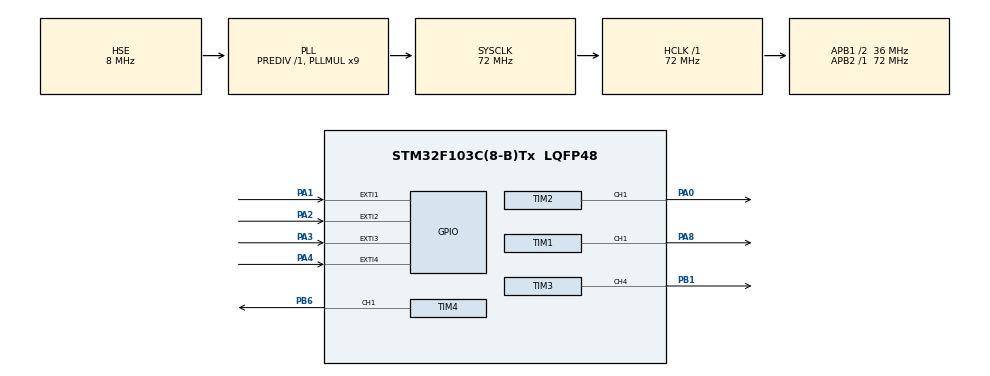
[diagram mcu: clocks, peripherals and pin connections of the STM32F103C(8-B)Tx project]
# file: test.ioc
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Dma.Request0=TIM1_CH1
Dma.Request1=TIM2_CH1
Dma.Request2=TIM3_CH4/UP
Dma.Request3=TIM4_CH1
Dma.TIM1_CH1.0.Direction=DMA_MEMORY_TO_PERIPH
Dma.TIM1_CH1.0.Instance=DMA1_Channel2
Dma.TIM1_CH1.0.MemDataAlignment=DMA_MDATAALIGN_HALFWORD
Dma.TIM1_CH1.0.MemInc=DMA_MINC_ENABLE
Dma.TIM1_CH1.0.Mode=DMA_CIRCULAR
Dma.TIM1_CH1.0.PeriphDataAlignment=DMA_PDATAALIGN_HALFWORD
Dma.TIM1_CH1.0.PeriphInc=DMA_PINC_DISABLE
Dma.TIM1_CH1.0.Priority=DMA_PRIORITY_LOW
Dma.TIM2_CH1.1.Direction=DMA_MEMORY_TO_PERIPH
Dma.TIM2_CH1.1.Instance=DMA1_Channel5
Dma.TIM2_CH1.1.MemDataAlignment=DMA_MDATAALIGN_HALFWORD
Dma.TIM2_CH1.1.MemInc=DMA_MINC_ENABLE
Dma.TIM2_CH1.1.Mode=DMA_CIRCULAR
Dma.TIM2_CH1.1.PeriphDataAlignment=DMA_PDATAALIGN_HALFWORD
Dma.TIM2_CH1.1.PeriphInc=DMA_PINC_DISABLE
Dma.TIM2_CH1.1.Priority=DMA_PRIORITY_LOW
Dma.TIM3_CH4/UP.2.Direction=DMA_MEMORY_TO_PERIPH
Dma.TIM3_CH4/UP.2.Instance=DMA1_Channel3
Dma.TIM3_CH4/UP.2.MemDataAlignment=DMA_MDATAALIGN_HALFWORD
Dma.TIM3_CH4/UP.2.MemInc=DMA_MINC_ENABLE
Dma.TIM3_CH4/UP.2.Mode=DMA_CIRCULAR
Dma.TIM3_CH4/UP.2.PeriphDataAlignment=DMA_PDATAALIGN_HALFWORD
Dma.TIM3_CH4/UP.2.PeriphInc=DMA_PINC_DISABLE
Dma.TIM3_CH4/UP.2.Priority=DMA_PRIORITY_LOW
Dma.TIM4_CH1.3.Direction=DMA_MEMORY_TO_PERIPH
Dma.TIM4_CH1.3.Instance=DMA1_Channel1
Dma.TIM4_CH1.3.MemDataAlignment=DMA_MDATAALIGN_HALFWORD
Dma.TIM4_CH1.3.MemInc=DMA_MINC_ENABLE
Dma.TIM4_CH1.3.Mode=DMA_CIRCULAR
Dma.TIM4_CH1.3.PeriphDataAlignment=DMA_PDATAALIGN_HALFWORD
Dma.TIM4_CH1.3.PeriphInc=DMA_PINC_DISABLE
Dma.TIM4_CH1.3.Priority=DMA_PRIORITY_LOW
Mcu.Family=STM32F1
Mcu.Name=STM32F103C(8-B)Tx
Mcu.Package=LQFP48
NVIC.DMA1_Channel1_IRQn=true\:0\:0\:false\:false\:true\:false\:true
NVIC.DMA1_Channel2_IRQn=true\:0\:0\:false\:false\:true\:false\:true
NVIC.DMA1_Channel3_IRQn=true\:0\:0\:false\:false\:true\:false\:true
NVIC.DMA1_Channel5_IRQn=true\:0\:0\:false\:false\:true\:false\:true
NVIC.EXTI1_IRQn=true\:0\:0\:false\:false\:true\:true\:true
NVIC.EXTI2_IRQn=true\:0\:0\:false\:false\:true\:true\:true
NVIC.EXTI3_IRQn=true\:0\:0\:false\:false\:true\:true\:true
NVIC.EXTI4_IRQn=true\:0\:0\:false\:false\:true\:true\:true
NVIC.PriorityGroup=NVIC_PRIORITYGROUP_4
PA0-WKUP.Signal=S_TIM2_CH1_ETR
PA1.GPIO_ModeDefaultEXTI=GPIO_MODE_IT_FALLING
PA1.GPIO_PuPd=GPIO_PULLUP
PA1.Signal=GPXTI1
PA13.Mode=Serial_Wire
PA13.Signal=SYS_JTMS-SWDIO
PA14.Mode=Serial_Wire
PA14.Signal=SYS_JTCK-SWCLK
PA2.GPIO_ModeDefaultEXTI=GPIO_MODE_IT_FALLING
PA2.GPIO_PuPd=GPIO_PULLUP
PA2.Signal=GPXTI2
PA3.GPIO_ModeDefaultEXTI=GPIO_MODE_IT_FALLING
PA3.GPIO_PuPd=GPIO_PULLUP
PA3.Signal=GPXTI3
PA4.GPIO_ModeDefaultEXTI=GPIO_MODE_IT_FALLING
PA4.GPIO_PuPd=GPIO_PULLUP
PA4.Signal=GPXTI4
PA8.Signal=S_TIM1_CH1
PB1.Signal=S_TIM3_CH4
PB6.Signal=S_TIM4_CH1
PD0-OSC_IN.Mode=HSE-External-Oscillator
PD0-OSC_IN.Signal=RCC_OSC_IN
PD1-OSC_OUT.Mode=HSE-External-Oscillator
PD1-OSC_OUT.Signal=RCC_OSC_OUT
ProjectManager.HeapSize=0x200
ProjectManager.StackSize=0x400
ProjectManager.TargetToolchain=MDK-ARM V5
RCC.AHBFreq_Value=72000000
RCC.APB1CLKDivider=RCC_HCLK_DIV2
RCC.APB1Freq_Value=36000000
RCC.APB1TimFreq_Value=72000000
RCC.APB2Freq_Value=72000000
RCC.APB2TimFreq_Value=72000000
RCC.HCLKFreq_Value=72000000
RCC.PLLMUL=RCC_PLL_MUL9
RCC.PLLSourceVirtual=RCC_PLLSOURCE_HSE
RCC.SYSCLKFreq_VALUE=72000000
RCC.SYSCLKSource=RCC_SYSCLKSOURCE_PLLCLK
RCC.USBFreq_Value=72000000
SH.S_TIM1_CH1.0=TIM1_CH1,PWM Generation1 CH1
SH.S_TIM2_CH1_ETR.0=TIM2_CH1,PWM Generation1 CH1
SH.S_TIM3_CH4.0=TIM3_CH4,PWM Generation4 CH4
SH.S_TIM4_CH1.0=TIM4_CH1,PWM Generation1 CH1
TIM1.Channel-PWM\ Generation1\ CH1=TIM_CHANNEL_1
TIM1.Period=89
TIM2.Channel-PWM\ Generation1\ CH1=TIM_CHANNEL_1
TIM2.Period=89
TIM3.Channel-PWM\ Generation4\ CH4=TIM_CHANNEL_4
TIM3.Period=89
TIM4.Channel-PWM\ Generation1\ CH1=TIM_CHANNEL_1
TIM4.Period=89
VP_TIM1_VS_ClockSourceINT.Mode=Internal
VP_TIM2_VS_ClockSourceINT.Mode=Internal
VP_TIM3_VS_ClockSourceINT.Mode=Internal
VP_TIM4_VS_ClockSourceINT.Mode=Internal
board=custom

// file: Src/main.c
/* USER CODE BEGIN Header */
/**
  ******************************************************************************
  * @file           : main.c
  * @brief          : Main program body
  ******************************************************************************
  * @attention
  *
  * <h2><center>&copy; Copyright (c) 2020 STMicroelectronics.
  * All rights reserved.</center></h2>
  *
  * This software component is licensed by ST under BSD 3-Clause license,
  * the "License"; You may not use this file except in compliance with the
  * License. You may obtain a copy of the License at:
  *                        opensource.org/licenses/BSD-3-Clause
  *
  ******************************************************************************
  */
/* USER CODE END Header */

#include "main.h"

TIM_HandleTypeDef htim1;
TIM_HandleTypeDef htim2;
TIM_HandleTypeDef htim3;
TIM_HandleTypeDef htim4;
DMA_HandleTypeDef hdma_tim1_ch1;
DMA_HandleTypeDef hdma_tim2_ch1;
DMA_HandleTypeDef hdma_tim3_ch4_up;
DMA_HandleTypeDef hdma_tim4_ch1;

void SystemClock_Config(void);
static void MX_GPIO_Init(void);
static void MX_DMA_Init(void);
static void MX_TIM1_Init(void);
static void MX_TIM2_Init(void);
static void MX_TIM3_Init(void);
static void MX_TIM4_Init(void);

/* USER CODE BEGIN 0 */

#define HIGH 65
#define LOW 26

#define DELAY_LEN 182
#define LED_COUNT 14

#define ARRAY_LEN DELAY_LEN + LED_COUNT*24

uint16_t BUF_DMA_S1  [ARRAY_LEN];
uint16_t BUF_DMA_S2  [ARRAY_LEN];
uint16_t BUF_DMA_S3  [ARRAY_LEN];
uint16_t BUF_DMA_S4  [ARRAY_LEN];

#define STRIP1_BUF BUF_DMA_S3
#define STRIP2_BUF BUF_DMA_S1
#define STRIP3_BUF BUF_DMA_S2
#define STRIP4_BUF BUF_DMA_S4

#define BitIsSet(reg, bit) ((reg & (1<<bit)) != 0)

#define get_r_val(x) ((uint8_t)((x & 0xFF0000) >> 16))
#define get_g_val(x) ((uint8_t)((x & 0xFF00) >> 8))
#define get_b_val(x) ((uint8_t)((x & 0xFF)))

void ws2812_pixel_rgb_to_buf_dma(uint16_t * BUF_DMA, uint32_t val, uint16_t posX)
{
	uint8_t Rpixel = get_r_val(val);
	uint8_t Gpixel = get_g_val(val);
	uint8_t Bpixel = get_b_val(val);

  volatile uint16_t i;
  for(i=0;i<8;i++)
  {
    if (BitIsSet(Rpixel,(7-i)) == 1)
    {
      BUF_DMA[DELAY_LEN+posX*24+i+8] = HIGH;
    }else
    {
      BUF_DMA[DELAY_LEN+posX*24+i+8] = LOW;
    }
    if (BitIsSet(Gpixel,(7-i)) == 1)
    {
      BUF_DMA[DELAY_LEN+posX*24+i+0] = HIGH;
    }else
    {
      BUF_DMA[DELAY_LEN+posX*24+i+0] = LOW;
    }
    if (BitIsSet(Bpixel,(7-i)) == 1)
    {
      BUF_DMA[DELAY_LEN+posX*24+i+16] = HIGH;
    }else
    {
      BUF_DMA[DELAY_LEN+posX*24+i+16] = LOW;
    }
  }
}

#include "../MDK-ARM/image.h"

int sys_tick = 0;
volatile int delay = 0xEFFFFFFF;
int cur_tick = 0;
int cur_deg = 0;

#define INDICATOR_PER_DEG 2
#define IMAGE_ARR_SIZE    (360 * INDICATOR_PER_DEG) // == (sizeof(font_hex))
#define QUARTER_COUNT (IMAGE_ARR_SIZE/4) // == N of lights between each detector

void set_delay(int new_del)
{
	cur_deg = cur_deg + (QUARTER_COUNT - (cur_deg % QUARTER_COUNT));
	delay = new_del + 1;
}

void update_strip()
{
	int i = 0;
	cur_deg = (cur_deg + 1) % IMAGE_ARR_SIZE;

  int im_id_1 = (cur_deg);
  int im_id_2 = (cur_deg + QUARTER_COUNT) % IMAGE_ARR_SIZE;
  int im_id_3 = (cur_deg + QUARTER_COUNT) % IMAGE_ARR_SIZE;
  int im_id_4 = (cur_deg + QUARTER_COUNT) % IMAGE_ARR_SIZE;

	for (i = 0; i < LED_COUNT ; i++)
	{
		ws2812_pixel_rgb_to_buf_dma(STRIP1_BUF,
																fontHEX[im_id_1][i], i);

		ws2812_pixel_rgb_to_buf_dma(STRIP2_BUF,
																fontHEX[im_id_2][i], i);

		ws2812_pixel_rgb_to_buf_dma(STRIP3_BUF,
																fontHEX[im_id_3][i], i);

		ws2812_pixel_rgb_to_buf_dma(STRIP4_BUF,
																fontHEX[im_id_4][i], i);
	}
}

#include <string.h>
/* USER CODE END 0 */

int main(void)
{

  /* MCU Configuration--------------------------------------------------------*/

  /* Reset of all peripherals, Initializes the Flash interface and the Systick. */

  HAL_Init();

  /* Configure the system clock */
  SystemClock_Config();

  /* Initialize all configured peripherals */
  MX_GPIO_Init();
  MX_DMA_Init();
  MX_TIM1_Init();
  MX_TIM2_Init();
  MX_TIM3_Init();
  MX_TIM4_Init();

  /* Infinite loop */
  /* USER CODE BEGIN WHILE */

	memset(BUF_DMA_S1, 0, sizeof(BUF_DMA_S1));
	memset(BUF_DMA_S2, 0, sizeof(BUF_DMA_S2));
	memset(BUF_DMA_S3, 0, sizeof(BUF_DMA_S3));
	memset(BUF_DMA_S4, 0, sizeof(BUF_DMA_S4));

	HAL_TIM_PWM_Start_DMA(&htim1, TIM_CHANNEL_1,(uint32_t*) BUF_DMA_S2, ARRAY_LEN);
	HAL_TIM_PWM_Start_DMA(&htim2, TIM_CHANNEL_1,(uint32_t*) BUF_DMA_S3, ARRAY_LEN);
	HAL_TIM_PWM_Start_DMA(&htim3, TIM_CHANNEL_4,(uint32_t*) BUF_DMA_S1, ARRAY_LEN);
	HAL_TIM_PWM_Start_DMA(&htim4, TIM_CHANNEL_1,(uint32_t*) BUF_DMA_S4, ARRAY_LEN);

  while (1)
  {
		sys_tick++;
		cur_tick++;
		if (cur_tick >= delay)
		{
			cur_tick = 0;
			update_strip();
		}
    /* USER CODE END WHILE */

  }
}

void SystemClock_Config(void)
{
  RCC_OscInitTypeDef RCC_OscInitStruct = {0};
  RCC_ClkInitTypeDef RCC_ClkInitStruct = {0};

  /** Initializes the CPU, AHB and APB busses clocks
  */
  RCC_OscInitStruct.OscillatorType = RCC_OSCILLATORTYPE_HSE;
  RCC_OscInitStruct.HSEState = RCC_HSE_ON;
  RCC_OscInitStruct.HSEPredivValue = RCC_HSE_PREDIV_DIV1;
  RCC_OscInitStruct.HSIState = RCC_HSI_ON;
  RCC_OscInitStruct.PLL.PLLState = RCC_PLL_ON;
  RCC_OscInitStruct.PLL.PLLSource = RCC_PLLSOURCE_HSE;
  RCC_OscInitStruct.PLL.PLLMUL = RCC_PLL_MUL9;
  if (HAL_RCC_OscConfig(&RCC_OscInitStruct) != HAL_OK)
  {
    Error_Handler();
  }
  /** Initializes the CPU, AHB and APB busses clocks
  */
  RCC_ClkInitStruct.ClockType = RCC_CLOCKTYPE_HCLK|RCC_CLOCKTYPE_SYSCLK
                              |RCC_CLOCKTYPE_PCLK1|RCC_CLOCKTYPE_PCLK2;
  RCC_ClkInitStruct.SYSCLKSource = RCC_SYSCLKSOURCE_PLLCLK;
  RCC_ClkInitStruct.AHBCLKDivider = RCC_SYSCLK_DIV1;
  RCC_ClkInitStruct.APB1CLKDivider = RCC_HCLK_DIV2;
  RCC_ClkInitStruct.APB2CLKDivider = RCC_HCLK_DIV1;

  if (HAL_RCC_ClockConfig(&RCC_ClkInitStruct, FLASH_LATENCY_2) != HAL_OK)
  {
    Error_Handler();
  }
}

static void MX_TIM1_Init(void)
{

  TIM_ClockConfigTypeDef sClockSourceConfig = {0};
  TIM_MasterConfigTypeDef sMasterConfig = {0};
  TIM_OC_InitTypeDef sConfigOC = {0};
  TIM_BreakDeadTimeConfigTypeDef sBreakDeadTimeConfig = {0};

  htim1.Instance = TIM1;
  htim1.Init.Prescaler = 0;
  htim1.Init.CounterMode = TIM_COUNTERMODE_UP;
  htim1.Init.Period = 89;
  htim1.Init.ClockDivision = TIM_CLOCKDIVISION_DIV1;
  htim1.Init.RepetitionCounter = 0;
  htim1.Init.AutoReloadPreload = TIM_AUTORELOAD_PRELOAD_DISABLE;
  if (HAL_TIM_Base_Init(&htim1) != HAL_OK)
  {
    Error_Handler();
  }
  sClockSourceConfig.ClockSource = TIM_CLOCKSOURCE_INTERNAL;
  if (HAL_TIM_ConfigClockSource(&htim1, &sClockSourceConfig) != HAL_OK)
  {
    Error_Handler();
  }
  if (HAL_TIM_PWM_Init(&htim1) != HAL_OK)
  {
    Error_Handler();
  }
  sMasterConfig.MasterOutputTrigger = TIM_TRGO_RESET;
  sMasterConfig.MasterSlaveMode = TIM_MASTERSLAVEMODE_DISABLE;
  if (HAL_TIMEx_MasterConfigSynchronization(&htim1, &sMasterConfig) != HAL_OK)
  {
    Error_Handler();
  }
  sConfigOC.OCMode = TIM_OCMODE_PWM1;
  sConfigOC.Pulse = 0;
  sConfigOC.OCPolarity = TIM_OCPOLARITY_HIGH;
  sConfigOC.OCNPolarity = TIM_OCNPOLARITY_HIGH;
  sConfigOC.OCFastMode = TIM_OCFAST_DISABLE;
  sConfigOC.OCIdleState = TIM_OCIDLESTATE_RESET;
  sConfigOC.OCNIdleState = TIM_OCNIDLESTATE_RESET;
  if (HAL_TIM_PWM_ConfigChannel(&htim1, &sConfigOC, TIM_CHANNEL_1) != HAL_OK)
  {
    Error_Handler();
  }
  sBreakDeadTimeConfig.OffStateRunMode = TIM_OSSR_DISABLE;
  sBreakDeadTimeConfig.OffStateIDLEMode = TIM_OSSI_DISABLE;
  sBreakDeadTimeConfig.LockLevel = TIM_LOCKLEVEL_OFF;
  sBreakDeadTimeConfig.DeadTime = 0;
  sBreakDeadTimeConfig.BreakState = TIM_BREAK_DISABLE;
  sBreakDeadTimeConfig.BreakPolarity = TIM_BREAKPOLARITY_HIGH;
  sBreakDeadTimeConfig.AutomaticOutput = TIM_AUTOMATICOUTPUT_DISABLE;
  if (HAL_TIMEx_ConfigBreakDeadTime(&htim1, &sBreakDeadTimeConfig) != HAL_OK)
  {
    Error_Handler();
  }
  HAL_TIM_MspPostInit(&htim1);

}

static void MX_TIM2_Init(void)
{

  TIM_ClockConfigTypeDef sClockSourceConfig = {0};
  TIM_MasterConfigTypeDef sMasterConfig = {0};
  TIM_OC_InitTypeDef sConfigOC = {0};

  htim2.Instance = TIM2;
  htim2.Init.Prescaler = 0;
  htim2.Init.CounterMode = TIM_COUNTERMODE_UP;
  htim2.Init.Period = 89;
  htim2.Init.ClockDivision = TIM_CLOCKDIVISION_DIV1;
  htim2.Init.AutoReloadPreload = TIM_AUTORELOAD_PRELOAD_DISABLE;
  if (HAL_TIM_Base_Init(&htim2) != HAL_OK)
  {
    Error_Handler();
  }
  sClockSourceConfig.ClockSource = TIM_CLOCKSOURCE_INTERNAL;
  if (HAL_TIM_ConfigClockSource(&htim2, &sClockSourceConfig) != HAL_OK)
  {
    Error_Handler();
  }
  if (HAL_TIM_PWM_Init(&htim2) != HAL_OK)
  {
    Error_Handler();
  }
  sMasterConfig.MasterOutputTrigger = TIM_TRGO_RESET;
  sMasterConfig.MasterSlaveMode = TIM_MASTERSLAVEMODE_DISABLE;
  if (HAL_TIMEx_MasterConfigSynchronization(&htim2, &sMasterConfig) != HAL_OK)
  {
    Error_Handler();
  }
  sConfigOC.OCMode = TIM_OCMODE_PWM1;
  sConfigOC.Pulse = 0;
  sConfigOC.OCPolarity = TIM_OCPOLARITY_HIGH;
  sConfigOC.OCFastMode = TIM_OCFAST_DISABLE;
  if (HAL_TIM_PWM_ConfigChannel(&htim2, &sConfigOC, TIM_CHANNEL_1) != HAL_OK)
  {
    Error_Handler();
  }
  HAL_TIM_MspPostInit(&htim2);

}

static void MX_TIM3_Init(void)
{

  TIM_ClockConfigTypeDef sClockSourceConfig = {0};
  TIM_MasterConfigTypeDef sMasterConfig = {0};
  TIM_OC_InitTypeDef sConfigOC = {0};

  htim3.Instance = TIM3;
  htim3.Init.Prescaler = 0;
  htim3.Init.CounterMode = TIM_COUNTERMODE_UP;
  htim3.Init.Period = 89;
  htim3.Init.ClockDivision = TIM_CLOCKDIVISION_DIV1;
  htim3.Init.AutoReloadPreload = TIM_AUTORELOAD_PRELOAD_DISABLE;
  if (HAL_TIM_Base_Init(&htim3) != HAL_OK)
  {
    Error_Handler();
  }
  sClockSourceConfig.ClockSource = TIM_CLOCKSOURCE_INTERNAL;
  if (HAL_TIM_ConfigClockSource(&htim3, &sClockSourceConfig) != HAL_OK)
  {
    Error_Handler();
  }
  if (HAL_TIM_PWM_Init(&htim3) != HAL_OK)
  {
    Error_Handler();
  }
  sMasterConfig.MasterOutputTrigger = TIM_TRGO_RESET;
  sMasterConfig.MasterSlaveMode = TIM_MASTERSLAVEMODE_DISABLE;
  if (HAL_TIMEx_MasterConfigSynchronization(&htim3, &sMasterConfig) != HAL_OK)
  {
    Error_Handler();
  }
  sConfigOC.OCMode = TIM_OCMODE_PWM1;
  sConfigOC.Pulse = 0;
  sConfigOC.OCPolarity = TIM_OCPOLARITY_HIGH;
  sConfigOC.OCFastMode = TIM_OCFAST_DISABLE;
  if (HAL_TIM_PWM_ConfigChannel(&htim3, &sConfigOC, TIM_CHANNEL_4) != HAL_OK)
  {
    Error_Handler();
  }
  HAL_TIM_MspPostInit(&htim3);

}

static void MX_TIM4_Init(void)
{

  TIM_ClockConfigTypeDef sClockSourceConfig = {0};
  TIM_MasterConfigTypeDef sMasterConfig = {0};
  TIM_OC_InitTypeDef sConfigOC = {0};

  htim4.Instance = TIM4;
  htim4.Init.Prescaler = 0;
  htim4.Init.CounterMode = TIM_COUNTERMODE_UP;
  htim4.Init.Period = 89;
  htim4.Init.ClockDivision = TIM_CLOCKDIVISION_DIV1;
  htim4.Init.AutoReloadPreload = TIM_AUTORELOAD_PRELOAD_DISABLE;
  if (HAL_TIM_Base_Init(&htim4) != HAL_OK)
  {
    Error_Handler();
  }
  sClockSourceConfig.ClockSource = TIM_CLOCKSOURCE_INTERNAL;
  if (HAL_TIM_ConfigClockSource(&htim4, &sClockSourceConfig) != HAL_OK)
  {
    Error_Handler();
  }
  if (HAL_TIM_PWM_Init(&htim4) != HAL_OK)
  {
    Error_Handler();
  }
  sMasterConfig.MasterOutputTrigger = TIM_TRGO_RESET;
  sMasterConfig.MasterSlaveMode = TIM_MASTERSLAVEMODE_DISABLE;
  if (HAL_TIMEx_MasterConfigSynchronization(&htim4, &sMasterConfig) != HAL_OK)
  {
    Error_Handler();
  }
  sConfigOC.OCMode = TIM_OCMODE_PWM1;
  sConfigOC.Pulse = 0;
  sConfigOC.OCPolarity = TIM_OCPOLARITY_HIGH;
  sConfigOC.OCFastMode = TIM_OCFAST_DISABLE;
  if (HAL_TIM_PWM_ConfigChannel(&htim4, &sConfigOC, TIM_CHANNEL_1) != HAL_OK)
  {
    Error_Handler();
  }
  HAL_TIM_MspPostInit(&htim4);

}

static void MX_DMA_Init(void)
{
  /* DMA controller clock enable */
  __HAL_RCC_DMA1_CLK_ENABLE();

  /* DMA interrupt init */
  /* DMA1_Channel1_IRQn interrupt configuration */
  HAL_NVIC_SetPriority(DMA1_Channel1_IRQn, 0, 0);
  HAL_NVIC_EnableIRQ(DMA1_Channel1_IRQn);
  /* DMA1_Channel2_IRQn interrupt configuration */
  HAL_NVIC_SetPriority(DMA1_Channel2_IRQn, 0, 0);
  HAL_NVIC_EnableIRQ(DMA1_Channel2_IRQn);
  /* DMA1_Channel3_IRQn interrupt configuration */
  HAL_NVIC_SetPriority(DMA1_Channel3_IRQn, 0, 0);
  HAL_NVIC_EnableIRQ(DMA1_Channel3_IRQn);
  /* DMA1_Channel5_IRQn interrupt configuration */
  HAL_NVIC_SetPriority(DMA1_Channel5_IRQn, 0, 0);
  HAL_NVIC_EnableIRQ(DMA1_Channel5_IRQn);

}

static void MX_GPIO_Init(void)
{
  GPIO_InitTypeDef GPIO_InitStruct = {0};

  /* GPIO Ports Clock Enable */
  __HAL_RCC_GPIOD_CLK_ENABLE();
  __HAL_RCC_GPIOA_CLK_ENABLE();
  __HAL_RCC_GPIOB_CLK_ENABLE();

  /*Configure GPIO pins : PA1 PA2 PA3 PA4 */
  GPIO_InitStruct.Pin = GPIO_PIN_1|GPIO_PIN_2|GPIO_PIN_3|GPIO_PIN_4;
  GPIO_InitStruct.Mode = GPIO_MODE_IT_FALLING;
  GPIO_InitStruct.Pull = GPIO_PULLUP;
  HAL_GPIO_Init(GPIOA, &GPIO_InitStruct);

  /* EXTI interrupt init*/
  HAL_NVIC_SetPriority(EXTI1_IRQn, 0, 0);
  HAL_NVIC_EnableIRQ(EXTI1_IRQn);

  HAL_NVIC_SetPriority(EXTI2_IRQn, 0, 0);
  HAL_NVIC_EnableIRQ(EXTI2_IRQn);

  HAL_NVIC_SetPriority(EXTI3_IRQn, 0, 0);
  HAL_NVIC_EnableIRQ(EXTI3_IRQn);

  HAL_NVIC_SetPriority(EXTI4_IRQn, 0, 0);
  HAL_NVIC_EnableIRQ(EXTI4_IRQn);

}

void Error_Handler(void)
{
}

/************************ (C) COPYRIGHT STMicroelectronics *****END OF FILE****/
